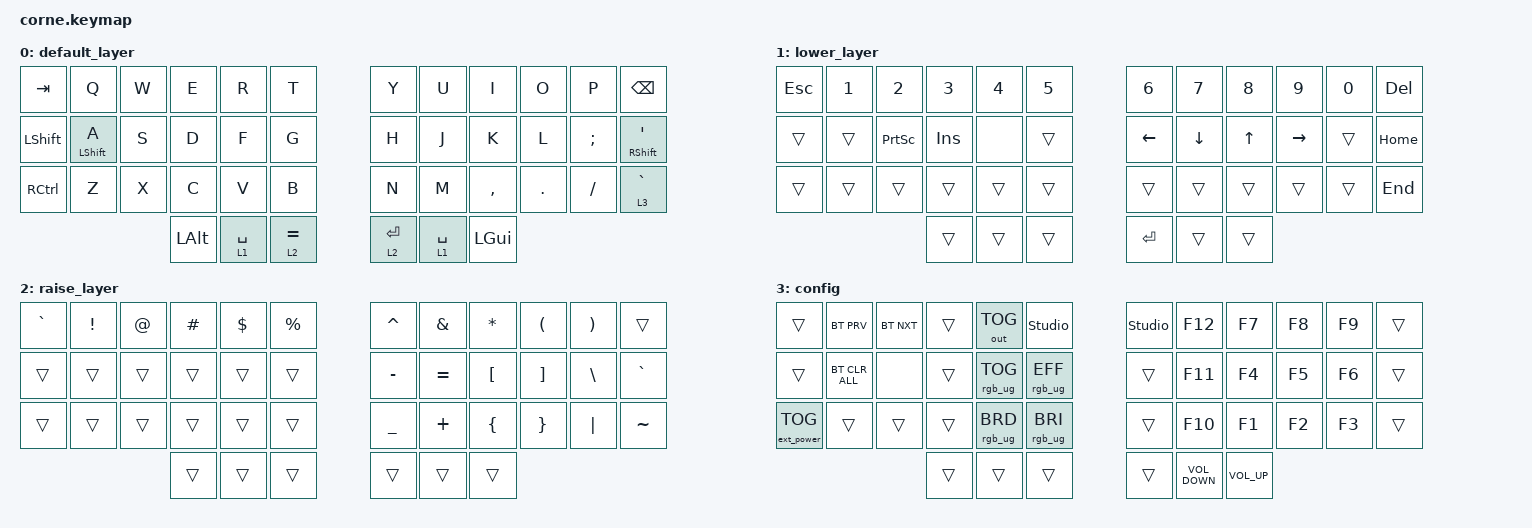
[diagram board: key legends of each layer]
/*
 * Copyright (c) 2020 The ZMK Contributors
 *
 * SPDX-License-Identifier: MIT
 */

#include <behaviors.dtsi>
#include <dt-bindings/zmk/bt.h>
#include <dt-bindings/zmk/ext_power.h>
#include <dt-bindings/zmk/keys.h>
#include <dt-bindings/zmk/outputs.h>
#include <dt-bindings/zmk/rgb.h>

/ {
    combos {
        compatible = "zmk,combos";

        L_Brace {
            bindings = <&kp LEFT_BRACE>;
            key-positions = <4 3>;
        };

        L_Brackets {
            bindings = <&kp LEFT_BRACKET>;
            key-positions = <16 15>;
        };

        L_Parenthesis {
            bindings = <&kp LEFT_PARENTHESIS>;
            key-positions = <28 27>;
        };

        R_Brace {
            bindings = <&kp RIGHT_BRACE>;
            key-positions = <7 8>;
        };

        R_Brackets {
            bindings = <&kp RIGHT_BRACKET>;
            key-positions = <20 19>;
        };

        R_Parenthesis {
            bindings = <&kp RIGHT_PARENTHESIS>;
            key-positions = <32 31>;
        };

        reset_left {
            bindings = <&sys_reset>;
            key-positions = <0 5>;
        };

        reset_right {
            bindings = <&sys_reset>;
            key-positions = <6 11>;
        };
    };

    behaviors {
        tp: tap_preferred {
            compatible = "zmk,behavior-hold-tap";
            label = "TAP_PREFERRED";
            bindings = <&none>, <&none>;

            #binding-cells = <2>;
            tapping-term-ms = <50>;
            quick-tap-ms = <2>;
            flavor = "hold-preferred";
        };
    };

    keymap {
        compatible = "zmk,keymap";

        default_layer {
            // -----------------------------------------------------------------------------------------
            // |  TAB |  Q  |  W  |  E  |  R  |  T  |   |  Y  |  U   |  I  |  O  |  P  | BKSP |
            // | CTRL |  A  |  S  |  D  |  F  |  G  |   |  H  |  J   |  K  |  L  |  ;  |  '   |
            // | SHFT |  Z  |  X  |  C  |  V  |  B  |   |  N  |  M   |  ,  |  .  |  /  | ESC  |
            //                    | GUI | LWR | SPC |   | ENT | RSE  | ALT |

            bindings = <
&kp TAB     &kp Q             &kp W  &kp E         &kp R        &kp T          &kp Y        &kp U        &kp I      &kp O    &kp P     &kp BACKSPACE
&kp LSHIFT  &mt LEFT_SHIFT A  &kp S  &kp D         &kp F        &kp G          &kp H        &kp J        &kp K      &kp L    &kp SEMI  &mt RSHIFT APOS
&kp RCTRL   &kp Z             &kp X  &kp C         &kp V        &kp B          &kp N        &kp M        &kp COMMA  &kp DOT  &kp FSLH  &lt 3 GRAVE
                                     &kp LEFT_ALT  &lt 1 SPACE  &lt 2 EQUAL    &lt 2 ENTER  &lt 1 SPACE  &kp LGUI
            >;
        };

        lower_layer {
            // -----------------------------------------------------------------------------------------
            // |  TAB |  1  |  2  |  3  |  4  |  5  |   |  6  |  7  |  8  |  9  |  0  | BKSP |
            // | BTCLR| BT1 | BT2 | BT3 | BT4 | BT5 |   | LFT | DWN |  UP | RGT |     |      |
            // | SHFT |     |     |     |     |     |   |     |     |     |     |     |      |
            //                    | GUI |     | SPC |   | ENT |     | ALT |

            bindings = <
&kp ESC  &kp N1  &kp N2           &kp N3   &kp N4  &kp N5    &kp N6     &kp N7    &kp N8  &kp N9     &kp N0  &kp DELETE
&trans   &trans  &kp PRINTSCREEN  &kp INS  &none   &trans    &kp LEFT   &kp DOWN  &kp UP  &kp RIGHT  &trans  &kp HOME
&trans   &trans  &trans           &trans   &trans  &trans    &trans     &trans    &trans  &trans     &trans  &kp END
                                  &trans   &trans  &trans    &kp ENTER  &trans    &trans
            >;
        };

        raise_layer {
            // -----------------------------------------------------------------------------------------
            // |  TAB |  !  |  @  |  #  |  $  |  %  |   |  ^  |  &  |  *  |  (  |  )  | BKSP |
            // | CTRL |     |     |     |     |     |   |  -  |  =  |  [  |  ]  |  \  |  `   |
            // | SHFT |     |     |     |     |     |   |  _  |  +  |  {  |  }  | "|" |  ~   |
            //                    | GUI |     | SPC |   | ENT |     | ALT |

            bindings = <
&kp GRAVE  &kp EXCL  &kp AT  &kp HASH  &kp DLLR  &kp PRCNT    &kp CARET  &kp AMPS   &kp ASTERISK  &kp LPAR  &kp RPAR  &trans
&trans     &trans    &trans  &trans    &trans    &trans       &kp MINUS  &kp EQUAL  &kp LBKT      &kp RBKT  &kp BSLH  &kp GRAVE
&trans     &trans    &trans  &trans    &trans    &trans       &kp UNDER  &kp PLUS   &kp LBRC      &kp RBRC  &kp PIPE  &kp TILDE
                             &trans    &trans    &trans       &trans     &trans     &trans
            >;
        };

        config {
            bindings = <
&trans             &bt BT_PRV      &bt BT_NXT  &trans  &out OUT_TOG     &studio_unlock     &studio_unlock  &kp F12            &kp F7           &kp F8  &kp F9  &trans
&trans             &bt BT_CLR_ALL  &none       &trans  &rgb_ug RGB_TOG  &rgb_ug RGB_EFF    &trans          &kp F11            &kp F4           &kp F5  &kp F6  &trans
&ext_power EP_TOG  &trans          &trans      &trans  &rgb_ug RGB_BRD  &rgb_ug RGB_BRI    &trans          &kp F10            &kp F1           &kp F2  &kp F3  &trans
                                               &trans  &trans           &trans             &trans          &kp C_VOLUME_DOWN  &kp C_VOLUME_UP
            >;
        };
    };
};
